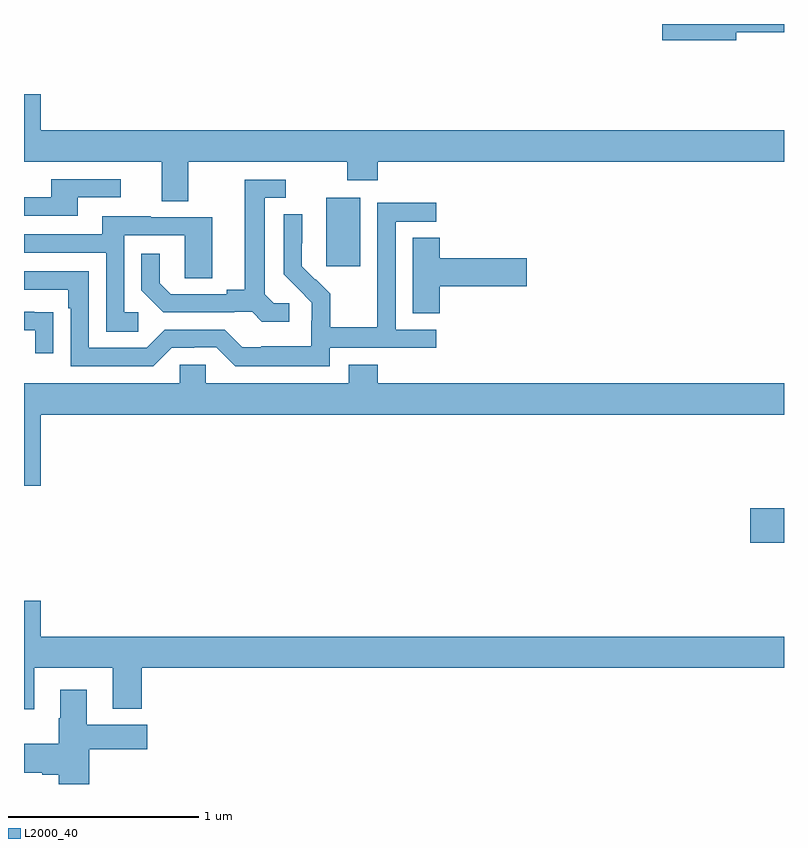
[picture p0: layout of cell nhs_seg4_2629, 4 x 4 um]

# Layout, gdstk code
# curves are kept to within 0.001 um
import gdstk
lib = gdstk.Library(unit=1e-6, precision=1e-09)
def R(c, l, rs):  # rectangles x0, y0, x1, y1
    for r in rs: c.add(gdstk.rectangle(r[:2], r[2:], *l))
def P(c, l, *ps):  # polygons
    for p in ps: c.add(gdstk.Polygon(p, *l))
L2000_40 = (2000, 40)

nhs_seg4_2629 = lib.new_cell('nhs_seg4_2629')
R(nhs_seg4_2629, L2000_40, [(252.822,772.169,253,772.352), (250.592,773.625,250.771,773.986)])
P(nhs_seg4_2629, L2000_40, [(252.748,774.856),(253,774.856),(253,774.9),(252.36,774.9),(252.36,774.814),(252.748,774.814)],
  [(249.865,774.176),(250.702,774.176),(250.702,774.077),(250.862,774.077),(250.862,774.176),(253,774.176),(253,774.34),(249.088,774.34),(249.088,774.529),(249,774.529),(249,774.176),(249.725,774.176),(249.725,773.968),(249.865,773.968)],
  [(249.283,773.988),(249.508,773.988),(249.508,774.084),(249.143,774.084),(249.143,773.988),(249,773.988),(249,773.892),(249.283,773.892)],
  [(250.396,773.43),(250.314,773.43),(250.267,773.477),(250.267,773.985),(250.378,773.985),(250.378,774.081),(250.163,774.081),(250.163,773.501),(250.067,773.501),(250.067,773.478),(249.772,773.478),(249.715,773.535),(249.715,773.692),(249.618,773.692),(249.618,773.498),(249.734,773.382),(250.106,773.382),(250.106,773.385),(250.2,773.385),(250.252,773.333),(250.396,773.333)],
  [(250.608,773.196),(251.17,773.196),(251.17,773.292),(250.956,773.292),(250.956,773.859),(251.17,773.859),(251.17,773.958),(250.86,773.958),(250.86,773.528),(250.858,773.528),(250.858,773.305),(250.613,773.305),(250.613,773.479),(250.536,773.556),(250.533,773.553),(250.463,773.624),(250.464,773.9),(250.368,773.9),(250.368,773.582),(250.514,773.434),(250.514,773.337),(250.512,773.337),(250.512,773.203),(250.249,773.203),(250.249,773.199),(250.149,773.199),(250.056,773.292),(249.741,773.292),(249.645,773.196),(249.342,773.196),(249.342,773.598),(249,773.598),(249,773.502),(249.233,773.502),(249.233,773.405),(249.246,773.405),(249.246,773.1),(249.681,773.1),(249.777,773.196),(249.896,773.196),(249.896,773.199),(250.011,773.199),(250.111,773.099),(250.608,773.099)],
  [(249.601,773.382),(249.528,773.382),(249.528,773.787),(249.846,773.787),(249.846,773.563),(249.991,773.563),(249.991,773.883),(249.667,773.883),(249.667,773.887),(249.413,773.887),(249.413,773.793),(249,773.793),(249,773.697),(249.432,773.697),(249.432,773.281),(249.601,773.281)],
  [(251.189,773.519),(251.647,773.519),(251.647,773.666),(251.189,773.666),(251.189,773.774),(251.045,773.774),(251.045,773.377),(251.189,773.377)],
  [(249.155,773.384),(249.053,773.384),(249.053,773.385),(249,773.385),(249,773.289),(249.059,773.289),(249.059,773.166),(249.155,773.166)],
  [(249.088,772.844),(253,772.844),(253,773.008),(250.862,773.008),(250.862,773.107),(250.709,773.107),(250.709,773.008),(249.957,773.008),(249.957,773.106),(249.819,773.106),(249.819,773.008),(249,773.008),(249,772.47),(249.088,772.47)],
  [(249.055,771.512),(249.467,771.512),(249.467,771.296),(249.62,771.296),(249.62,771.512),(253,771.512),(253,771.676),(249.088,771.676),(249.088,771.865),(249,771.865),(249,771.294),(249.055,771.294)],
  [(249.344,771.082),(249.649,771.082),(249.649,771.211),(249.331,771.211),(249.331,771.397),(249.191,771.397),(249.191,771.246),(249.184,771.246),(249.184,771.112),(249,771.112),(249,770.96),(249.095,770.96),(249.095,770.948),(249.184,770.948),(249.184,770.9),(249.344,770.9)])

lib.write_gds('nhs_seg4_2629.gds')
